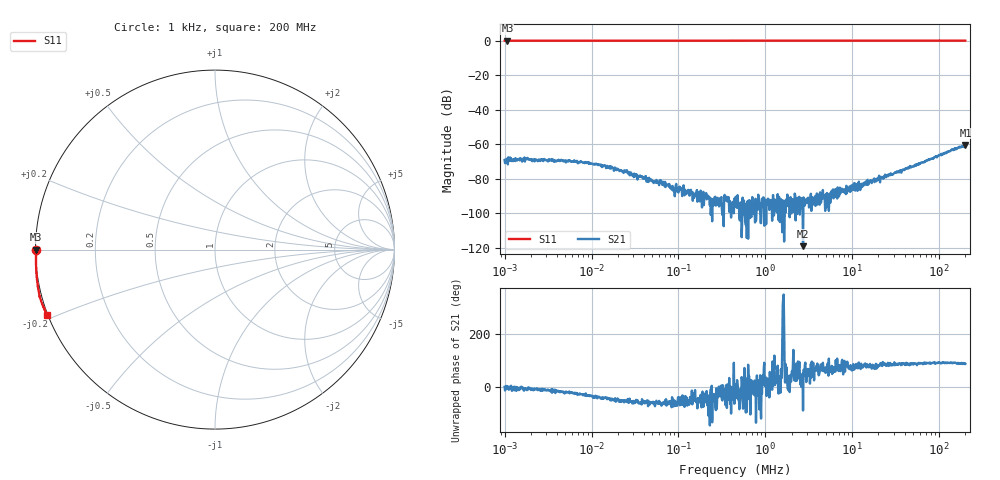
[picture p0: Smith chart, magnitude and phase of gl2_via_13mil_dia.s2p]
! ListType=Log
# MHZ S RI R 50
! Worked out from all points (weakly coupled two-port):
!   1000 points, 1 kHz to 200 MHz, reference 50 ohm
!   highest |S21| = -60.54 dB at 200 MHz (marker M1); lowest = -119.2 dB at 2.711 MHz (marker M2)
!   lowest |S11| = 0.0 dB at 1.076 kHz (marker M3), VSWR 524.59, Z = 0.0953 + j0.0059 ohm
!   |S11| at or under -10 dB: nowhere
!   S12 and S22 are empty: the file has one direction only
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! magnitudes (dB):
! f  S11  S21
! 1 kHz  0.0  -69.2
! 1.076 kHz  0.0  -68.3
! 1.754 kHz  0.0  -68.5
! 2.213 kHz  0.0  -70.0
! 4.386 kHz  0.0  -69.3
! 7.694 kHz  0.0  -70.3
! 11.66 kHz  0.0  -71.7
! 16.82 kHz  0.0  -74.1
! 22 kHz  0.0  -75.7
! 25.17 kHz  0.0  -75.2
! 28.79 kHz  0.0  -77.6
! 41.54 kHz  0.0  -80.2
! 58.48 kHz  0.0  -82.4
! 450 kHz  0.0  -96.2
! 2.711 MHz  0.0  -119.2
! 3.42 MHz  0.0  -94.6
! 18.24 MHz  0.0  -80.2
! 21.91 MHz  0.0  -79.0
! 26.31 MHz  0.0  -78.0
! 50.9 MHz  0.0  -73.1
! 142.1 MHz  0.1  -63.4
! 200 MHz  0.0  -60.5
